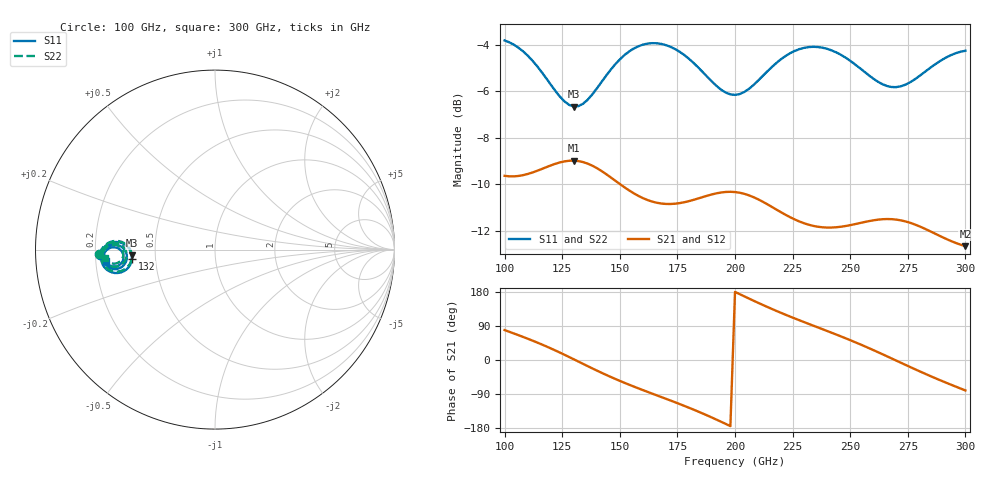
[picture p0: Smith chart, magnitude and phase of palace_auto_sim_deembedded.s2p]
! Created with skrf 1.11.0 (http://scikit-rf.org).
# GHz S DB R 50.0
!freq dBS11 angS11 dBS21 angS21 dBS12 angS12 dBS22 angS22
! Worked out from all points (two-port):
!   101 points, 100 GHz to 300 GHz, reference 50 ohm
!   highest |S21| = -8.98 dB at 130 GHz (marker M1); lowest = -12.7 dB at 300 GHz (marker M2)
!   |S21| within 3 dB of the highest: start of sweep to 284 GHz
!   lowest |S11| = -6.7 dB at 130 GHz (marker M3), VSWR 2.74, Z = 18.3 - j1.47 ohm
!   |S11| at or under -10 dB: nowhere
!   |S22| runs from -6.7 to -3.8 dB; largest |S21 - S12| = 5.1e-14
!   S11 on the Smith chart (normalised r, x): 100 GHz: 0.22, -0.02; 132 GHz: 0.37, -0.05; 300 GHz: 0.24, -0.05
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100  -3.82 -177.1  -9.64 78.9  -9.64 78.9  -3.82 -177.6
116  -5.17 175.6  -9.35 41.4  -9.35 41.4  -5.16 174.9
124  -6.23 178.1  -9.06 19.6  -9.06 19.6  -6.23 177.4
130  -6.66 -176.1  -8.98 1.9  -8.98 1.9  -6.65 -176.8
132  -6.64 -173.8  -9.00 -4.0  -9.00 -4.0  -6.64 -174.6
134  -6.54 -171.7  -9.04 -10.0  -9.04 -10.0  -6.54 -172.5
142  -5.61 -166.6  -9.42 -33.5  -9.42 -33.5  -5.61 -167.4
150  -4.63 -167.4  -9.99 -55.0  -9.99 -55.0  -4.63 -168.3
160  -4.00 -172.4  -10.59 -79.4  -10.59 -79.4  -4.00 -173.3
168  -3.97 -176.9  -10.83 -97.7  -10.83 -97.7  -3.96 -177.9
184  -4.98 177.2  -10.61 -136.0  -10.61 -136.0  -4.96 176.1
192  -5.77 178.8  -10.39 -157.5  -10.39 -157.5  -5.76 177.7
200  -6.16 -175.6  -10.33 179.7  -10.33 179.7  -6.14 -176.8
208  -5.74 -170.2  -10.55 156.7  -10.55 156.7  -5.72 -171.5
216  -4.96 -168.9  -10.97 134.7  -10.97 134.7  -4.95 -170.3
224  -4.36 -170.9  -11.42 114.4  -11.42 114.4  -4.36 -172.3
234  -4.09 -175.3  -11.79 90.6  -11.79 90.6  -4.09 -176.8
252  -4.84 178.7  -11.71 47.3  -11.71 47.3  -4.84 177.2
268  -5.82 -176.5  -11.50 4.1  -11.50 4.1  -5.82 -178.1
276  -5.62 -172.1  -11.65 -18.5  -11.65 -18.5  -5.62 -173.8
284  -5.05 -170.3  -11.98 -40.3  -11.98 -40.3  -5.05 -172.0
300  -4.26 -173.9  -12.66 -80.3  -12.66 -80.3  -4.26 -175.7
